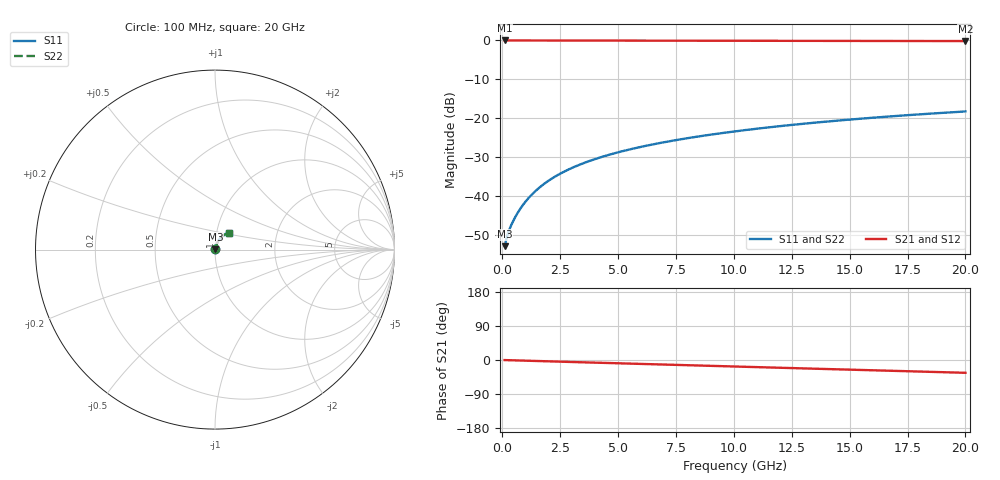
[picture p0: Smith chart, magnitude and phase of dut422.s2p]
! Touchstone file exported from HFSS 2026.1.0
!  File:  C:/ffzhzh/LocalFiles/Ansys_Project_Files/temp_train_BSMRDL_422_1783012745_53980.aedt
!  Generated:  01:20:26 AM Jul  3, 2026
!  Design:  BSMRDL
!  Project:  temp_train_BSMRDL_422_1783012745_53980
! Variables:
!  h_bsmrdl = 4.93um
!  h_ox = 20um
!  h_rdl = 5um
!  h_sub = 80um
!  h_tmrdl = 5um
!  h_tsv = 80um
!  h_via = 3um
!  l_bsmrdl = 582.51um
!  l_sub = 982.51um
!  l_tmrdl = 200um
!  m_sub = 200um
!  pitch = 33um
!  r_tsv = 6um
!  s_tmrdl = 10um
!  w_bsmrdl = 23.76um
!  w_sub = 500um
!  w_tmrdl = 12um
!  x_tsv_center1 = 206um
!  x_tsv_center2 = 812.27um
!  x_tsv_center3 = 1024.27um
!  x_tsv_center4 = 1630.54um
!  x_tsv_center5 = 1842.54um
!  x_tsv_center6 = 2448.81um
# GHz S MA R 50.000000
! Terminal data exported
! Port[1] = BSM_RDL1_1_T1
! Port[2] = BSM_RDL1_1_T2
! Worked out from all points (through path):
!   200 points, 100 MHz to 20 GHz, reference 50 ohm
!   highest |S21| = -0.02 dB at 100 MHz (marker M1); lowest = -0.2 dB at 20 GHz (marker M2)
!   group delay of S21, straight-line fit = 4.67 ps
!   lowest |S11| = -52.8 dB at 100 MHz (marker M3), VSWR 1.00, Z = 50.2 + j0.111 ohm
!   |S11| at or under -10 dB: start of sweep to end of sweep
!   |S22| runs from -52.8 to -18.2 dB; largest |S21 - S12| = 3e-15
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0.1  0.002295 28.7  0.998 -0.2  0.998 -0.2  0.002295 28.7
! Gamma 0 0 0 0
! Port Impedance 50 0 50 0
0.2  0.003024 41.4  0.9977 -0.4  0.9977 -0.4  0.003024 41.4
0.3  0.00371 48.2  0.9975 -0.6  0.9975 -0.6  0.00371 48.2
0.4  0.004366 53.1  0.9974 -0.7  0.9974 -0.7  0.004366 53.1
0.5  0.005024 57.1  0.9973 -0.9  0.9973 -0.9  0.005024 57.1
0.6  0.005697 60.3  0.9973 -1.1  0.9973 -1.1  0.005697 60.3
0.8  0.007088 64.9  0.9971 -1.4  0.9971 -1.4  0.007088 64.9
1  0.008524 68.0  0.997 -1.8  0.997 -1.8  0.008524 68.0
1.2  0.009985 70.0  0.9969 -2.1  0.9969 -2.1  0.009984 70.0
1.4  0.01146 71.4  0.9968 -2.5  0.9968 -2.5  0.01146 71.4
1.7  0.01367 72.7  0.9965 -3.0  0.9965 -3.0  0.01367 72.7
2.2  0.01734 73.7  0.9961 -3.9  0.9961 -3.9  0.01734 73.7
2.8  0.02167 73.8  0.9955 -4.9  0.9955 -4.9  0.02167 73.8
3.5  0.02658 73.4  0.9948 -6.1  0.9948 -6.1  0.02658 73.4
4.2  0.03137 72.7  0.9941 -7.3  0.9941 -7.3  0.03136 72.7
5  0.03669 71.8  0.9933 -8.7  0.9933 -8.7  0.03669 71.8
6.8  0.04824 69.5  0.9915 -11.8  0.9915 -11.8  0.04824 69.5
8.3  0.05754 67.5  0.9901 -14.3  0.9901 -14.3  0.05754 67.5
10.1  0.06841 65.0  0.9885 -17.3  0.9885 -17.3  0.06839 65.1
13.4  0.08756 60.3  0.9856 -22.8  0.9856 -22.8  0.08753 60.4
16.7  0.1057 55.4  0.9827 -28.3  0.9827 -28.3  0.1056 55.5
20  0.1226 50.4  0.9797 -33.8  0.9797 -33.8  0.1225 50.5
